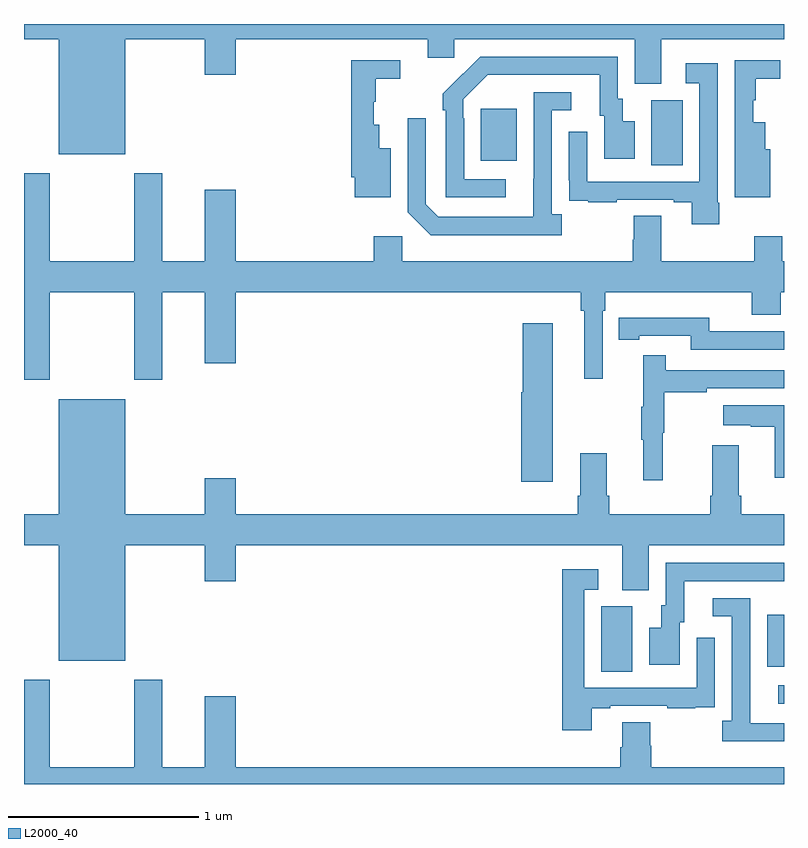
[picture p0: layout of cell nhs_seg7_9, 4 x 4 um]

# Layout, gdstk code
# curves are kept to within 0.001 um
import gdstk
lib = gdstk.Library(unit=1e-6, precision=1e-09)
def R(c, l, rs):  # rectangles x0, y0, x1, y1
    for r in rs: c.add(gdstk.rectangle(r[:2], r[2:], *l))
def P(c, l, *ps):  # polygons
    for p in ps: c.add(gdstk.Polygon(p, *l))
L2000_40 = (2000, 40)

nhs_seg7_9 = lib.new_cell('nhs_seg7_9')
R(nhs_seg7_9, L2000_40, [(114.969,1026.423,115,1026.519), (114.038,1026.592,114.202,1026.936), (114.911,1026.617,115,1026.892), (114.302,1029.256,114.466,1029.6), (113.405,1029.281,113.593,1029.555)])
P(nhs_seg7_9, L2000_40, [(111.532,1029.92),(111.95,1029.92),(111.95,1029.732),(112.114,1029.732),(112.114,1029.92),(113.126,1029.92),(113.126,1029.822),(113.265,1029.822),(113.265,1029.92),(114.215,1029.92),(114.215,1029.685),(114.355,1029.685),(114.355,1029.92),(115,1029.92),(115,1030),(111,1030),(111,1029.92),(111.182,1029.92),(111.182,1029.314),(111.532,1029.314)],
  [(113.536,1029.183),(113.316,1029.183),(113.316,1029.503),(113.313,1029.503),(113.313,1029.603),(113.442,1029.732),(114.029,1029.732),(114.029,1029.516),(114.053,1029.516),(114.053,1029.291),(114.214,1029.291),(114.214,1029.487),(114.151,1029.487),(114.151,1029.606),(114.126,1029.606),(114.126,1029.828),(113.402,1029.828),(113.205,1029.633),(113.205,1029.545),(113.22,1029.545),(113.22,1029.087),(113.536,1029.087)],
  [(114.928,1029.342),(114.901,1029.342),(114.901,1029.484),(114.839,1029.484),(114.839,1029.599),(114.85,1029.599),(114.85,1029.712),(114.979,1029.712),(114.979,1029.81),(114.741,1029.81),(114.741,1029.342),(114.74,1029.342),(114.74,1029.089),(114.928,1029.089)],
  [(112.93,1029.346),(112.87,1029.346),(112.87,1029.469),(112.841,1029.469),(112.841,1029.591),(112.852,1029.591),(112.852,1029.712),(112.981,1029.712),(112.981,1029.81),(112.723,1029.81),(112.723,1029.193),(112.742,1029.193),(112.742,1029.089),(112.93,1029.089)],
  [(114.66,1029.058),(114.651,1029.058),(114.651,1029.793),(114.483,1029.793),(114.483,1029.687),(114.555,1029.687),(114.555,1029.171),(113.964,1029.171),(113.964,1029.433),(113.868,1029.433),(113.868,1029.178),(113.869,1029.178),(113.869,1029.069),(113.971,1029.069),(113.971,1029.063),(114.119,1029.063),(114.119,1029.075),(114.419,1029.075),(114.419,1029.063),(114.515,1029.063),(114.515,1028.946),(114.66,1028.946)],
  [(113.83,1028.998),(113.778,1028.998),(113.778,1029.546),(113.881,1029.546),(113.881,1029.642),(113.682,1029.642),(113.681,1028.985),(113.181,1028.985),(113.115,1029.051),(113.115,1029.505),(113.019,1029.505),(113.019,1029.009),(113.14,1028.888),(113.83,1028.888)],
  [(111.135,1028.588),(111.58,1028.588),(111.58,1028.127),(111.727,1028.127),(111.727,1028.588),(111.95,1028.588),(111.95,1028.214),(112.114,1028.214),(112.114,1028.588),(113.929,1028.588),(113.929,1028.492),(113.948,1028.492),(113.948,1028.132),(114.045,1028.132),(114.045,1028.492),(114.059,1028.492),(114.059,1028.588),(114.83,1028.588),(114.83,1028.471),(114.983,1028.471),(114.983,1028.588),(115,1028.588),(115,1028.752),(114.99,1028.752),(114.99,1028.884),(114.844,1028.884),(114.844,1028.752),(114.355,1028.752),(114.355,1028.99),(114.208,1028.99),(114.208,1028.865),(114.203,1028.865),(114.203,1028.752),(112.992,1028.752),(112.992,1028.884),(112.841,1028.884),(112.841,1028.752),(112.114,1028.752),(112.114,1029.127),(111.95,1029.127),(111.95,1028.752),(111.727,1028.752),(111.727,1029.214),(111.58,1029.214),(111.58,1028.752),(111.135,1028.752),(111.135,1029.214),(111,1029.214),(111,1028.127),(111.135,1028.127)],
  [(115,1028.382),(114.606,1028.382),(114.606,1028.455),(114.238,1028.455),(114.238,1028.454),(114.13,1028.454),(114.13,1028.338),(114.238,1028.338),(114.238,1028.358),(114.51,1028.358),(114.51,1028.286),(115,1028.286)],
  [(113.782,1028.425),(113.624,1028.425),(113.624,1028.061),(113.618,1028.061),(113.618,1027.59),(113.782,1027.59)],
  [(114.362,1027.848),(114.37,1027.848),(114.37,1028.062),(114.593,1028.062),(114.593,1028.082),(115,1028.082),(115,1028.178),(114.377,1028.178),(114.377,1028.257),(114.26,1028.257),(114.26,1027.985),(114.249,1027.985),(114.249,1027.811),(114.26,1027.811),(114.26,1027.599),(114.362,1027.599)],
  [(111.532,1027.256),(111.95,1027.256),(111.95,1027.068),(112.114,1027.068),(112.114,1027.256),(114.149,1027.256),(114.149,1027.021),(114.289,1027.021),(114.289,1027.256),(115,1027.256),(115,1027.42),(114.776,1027.42),(114.776,1027.516),(114.763,1027.516),(114.763,1027.783),(114.623,1027.783),(114.623,1027.516),(114.611,1027.516),(114.611,1027.42),(114.08,1027.42),(114.08,1027.516),(114.067,1027.516),(114.067,1027.741),(113.927,1027.741),(113.927,1027.516),(113.915,1027.516),(113.915,1027.42),(112.114,1027.42),(112.114,1027.609),(111.95,1027.609),(111.95,1027.42),(111.532,1027.42),(111.532,1028.026),(111.182,1028.026),(111.182,1027.42),(111,1027.42),(111,1027.256),(111.182,1027.256),(111.182,1026.65),(111.532,1026.65)],
  [(115,1027.993),(114.681,1027.993),(114.681,1027.889),(114.824,1027.889),(114.824,1027.879),(114.95,1027.879),(114.95,1027.611),(115,1027.611)],
  [(114.451,1026.852),(114.475,1026.852),(114.475,1027.068),(115,1027.068),(115,1027.164),(114.378,1027.164),(114.378,1026.942),(114.353,1026.942),(114.353,1026.823),(114.29,1026.823),(114.29,1026.627),(114.451,1026.627)],
  [(113.989,1026.399),(114.085,1026.399),(114.085,1026.411),(114.385,1026.411),(114.385,1026.399),(114.533,1026.399),(114.533,1026.405),(114.635,1026.405),(114.635,1026.514),(114.636,1026.514),(114.636,1026.769),(114.54,1026.769),(114.54,1026.507),(113.949,1026.507),(113.949,1027.023),(114.022,1027.023),(114.022,1027.129),(113.833,1027.129),(113.833,1026.282),(113.989,1026.282)],
  [(115,1026.321),(114.823,1026.321),(114.823,1026.521),(114.822,1026.521),(114.822,1026.978),(114.624,1026.978),(114.624,1026.882),(114.726,1026.882),(114.726,1026.334),(114.675,1026.334),(114.675,1026.224),(115,1026.224)],
  [(115,1026.088),(114.302,1026.088),(114.302,1026.201),(114.297,1026.201),(114.297,1026.326),(114.149,1026.326),(114.149,1026.194),(114.137,1026.194),(114.137,1026.088),(112.114,1026.088),(112.114,1026.463),(111.95,1026.463),(111.95,1026.088),(111.727,1026.088),(111.727,1026.55),(111.58,1026.55),(111.58,1026.088),(111.135,1026.088),(111.135,1026.55),(111,1026.55),(111,1026),(115,1026)])

lib.write_gds('nhs_seg7_9.gds')
